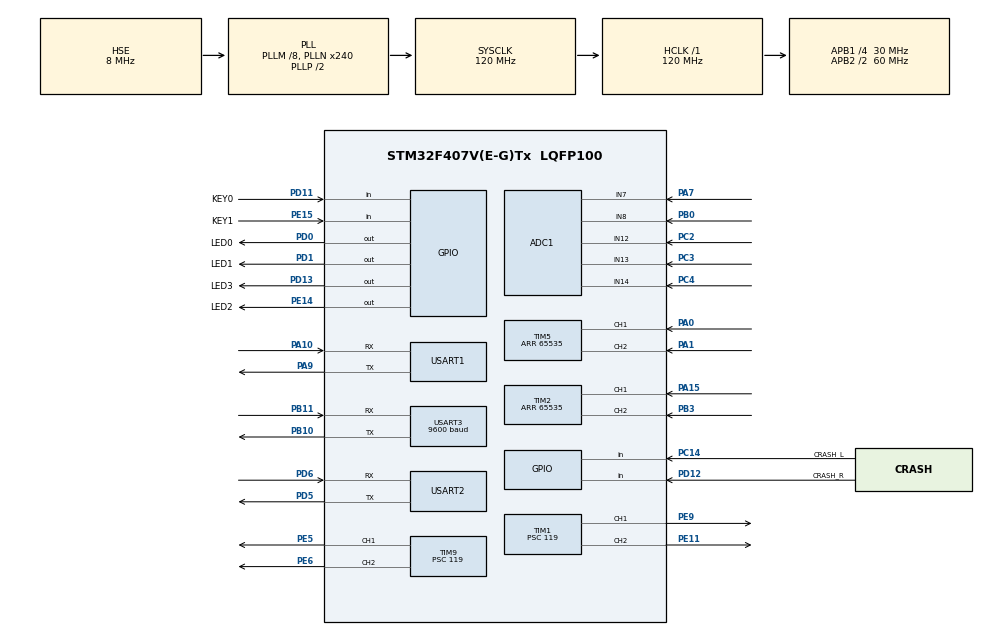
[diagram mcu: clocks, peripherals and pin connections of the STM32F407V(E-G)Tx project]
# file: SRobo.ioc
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ADC1.Channel-0\#ChannelRegularConversion=ADC_CHANNEL_8
ADC1.Channel-1\#ChannelRegularConversion=ADC_CHANNEL_12
ADC1.Channel-2\#ChannelRegularConversion=ADC_CHANNEL_13
ADC1.Channel-3\#ChannelRegularConversion=ADC_CHANNEL_14
ADC1.Channel-4\#ChannelRegularConversion=ADC_CHANNEL_7
ADC1.ContinuousConvMode=ENABLE
ADC1.DMAContinuousRequests=ENABLE
ADC1.ExternalTrigConv=ADC_EXTERNALTRIGCONV_T3_TRGO
ADC1.InjNumberOfConversion=0
ADC1.NbrOfConversion=5
ADC1.NbrOfConversionFlag=1
ADC1.Rank-0\#ChannelRegularConversion=1
ADC1.Rank-1\#ChannelRegularConversion=2
ADC1.Rank-2\#ChannelRegularConversion=3
ADC1.Rank-3\#ChannelRegularConversion=4
ADC1.Rank-4\#ChannelRegularConversion=5
ADC1.SamplingTime-0\#ChannelRegularConversion=ADC_SAMPLETIME_144CYCLES
ADC1.SamplingTime-1\#ChannelRegularConversion=ADC_SAMPLETIME_144CYCLES
ADC1.SamplingTime-2\#ChannelRegularConversion=ADC_SAMPLETIME_144CYCLES
ADC1.SamplingTime-3\#ChannelRegularConversion=ADC_SAMPLETIME_144CYCLES
ADC1.SamplingTime-4\#ChannelRegularConversion=ADC_SAMPLETIME_144CYCLES
ADC1.ScanConvMode=ENABLE
ADC1.master=1
Dma.ADC1.1.Direction=DMA_PERIPH_TO_MEMORY
Dma.ADC1.1.FIFOMode=DMA_FIFOMODE_DISABLE
Dma.ADC1.1.Instance=DMA2_Stream0
Dma.ADC1.1.MemDataAlignment=DMA_MDATAALIGN_HALFWORD
Dma.ADC1.1.MemInc=DMA_MINC_ENABLE
Dma.ADC1.1.Mode=DMA_CIRCULAR
Dma.ADC1.1.PeriphDataAlignment=DMA_PDATAALIGN_HALFWORD
Dma.ADC1.1.PeriphInc=DMA_PINC_DISABLE
Dma.ADC1.1.Priority=DMA_PRIORITY_LOW
Dma.Request0=USART1_TX
Dma.Request1=ADC1
Dma.USART1_TX.0.Direction=DMA_MEMORY_TO_PERIPH
Dma.USART1_TX.0.FIFOMode=DMA_FIFOMODE_DISABLE
Dma.USART1_TX.0.Instance=DMA2_Stream7
Dma.USART1_TX.0.MemDataAlignment=DMA_MDATAALIGN_BYTE
Dma.USART1_TX.0.MemInc=DMA_MINC_ENABLE
Dma.USART1_TX.0.Mode=DMA_NORMAL
Dma.USART1_TX.0.PeriphDataAlignment=DMA_PDATAALIGN_BYTE
Dma.USART1_TX.0.PeriphInc=DMA_PINC_DISABLE
Dma.USART1_TX.0.Priority=DMA_PRIORITY_LOW
Mcu.Family=STM32F4
Mcu.Name=STM32F407V(E-G)Tx
Mcu.Package=LQFP100
NVIC.DMA2_Stream0_IRQn=true\:0\:0\:false\:false\:true\:false\:true\:true
NVIC.DMA2_Stream7_IRQn=true\:0\:0\:false\:false\:true\:false\:true\:true
NVIC.PriorityGroup=NVIC_PRIORITYGROUP_4
NVIC.TIM3_IRQn=true\:0\:0\:false\:false\:true\:true\:true\:true
NVIC.USART1_IRQn=true\:0\:0\:false\:false\:true\:true\:true\:true
NVIC.USART2_IRQn=true\:0\:0\:false\:false\:true\:true\:true\:true
NVIC.USART3_IRQn=true\:0\:0\:false\:false\:true\:true\:true\:true
PA0-WKUP.Signal=S_TIM5_CH1
PA1.Signal=S_TIM5_CH2
PA10.Mode=Asynchronous
PA10.Signal=USART1_RX
PA13.Mode=Serial_Wire
PA13.Signal=SYS_JTMS-SWDIO
PA14.Mode=Serial_Wire
PA14.Signal=SYS_JTCK-SWCLK
PA15.Signal=S_TIM2_CH1_ETR
PA7.Signal=ADCx_IN7
PA9.Mode=Asynchronous
PA9.Signal=USART1_TX
PB0.Signal=ADCx_IN8
PB10.Mode=Asynchronous
PB10.Signal=USART3_TX
PB11.Mode=Asynchronous
PB11.Signal=USART3_RX
PB3.Signal=S_TIM2_CH2
PC14-OSC32_IN.GPIO_Label=CRASH_L
PC14-OSC32_IN.GPIO_PuPd=GPIO_PULLUP
PC14-OSC32_IN.Signal=GPIO_Input
PC2.Signal=ADCx_IN12
PC3.Signal=ADCx_IN13
PC4.Signal=ADCx_IN14
PD0.GPIO_Label=LED0
PD0.GPIO_PuPd=GPIO_NOPULL
PD0.PinState=GPIO_PIN_SET
PD0.Signal=GPIO_Output
PD1.GPIO_Label=LED1
PD1.GPIO_PuPd=GPIO_NOPULL
PD1.PinState=GPIO_PIN_SET
PD1.Signal=GPIO_Output
PD11.GPIO_Label=KEY0
PD11.GPIO_PuPd=GPIO_PULLUP
PD11.Signal=GPIO_Input
PD12.GPIO_Label=CRASH_R
PD12.GPIO_PuPd=GPIO_PULLUP
PD12.Signal=GPIO_Input
PD13.GPIO_Label=LED3
PD13.GPIO_PuPd=GPIO_NOPULL
PD13.PinState=GPIO_PIN_SET
PD13.Signal=GPIO_Output
PD5.Mode=Asynchronous
PD5.Signal=USART2_TX
PD6.Mode=Asynchronous
PD6.Signal=USART2_RX
PE11.Signal=S_TIM1_CH2
PE14.GPIO_Label=LED2
PE14.GPIO_PuPd=GPIO_NOPULL
PE14.PinState=GPIO_PIN_SET
PE14.Signal=GPIO_Output
PE15.GPIO_Label=KEY1
PE15.GPIO_PuPd=GPIO_PULLUP
PE15.Signal=GPIO_Input
PE5.Signal=S_TIM9_CH1
PE6.Signal=S_TIM9_CH2
PE9.Signal=S_TIM1_CH1
PH0-OSC_IN.Mode=HSE-External-Oscillator
PH0-OSC_IN.Signal=RCC_OSC_IN
PH1-OSC_OUT.Mode=HSE-External-Oscillator
PH1-OSC_OUT.Signal=RCC_OSC_OUT
ProjectManager.HeapSize=0x200
ProjectManager.StackSize=0x400
ProjectManager.TargetToolchain=MDK-ARM V5.32
RCC.48MHZClocksFreq_Value=60000000
RCC.AHBFreq_Value=120000000
RCC.APB1CLKDivider=RCC_HCLK_DIV4
RCC.APB1Freq_Value=30000000
RCC.APB1TimFreq_Value=60000000
RCC.APB2CLKDivider=RCC_HCLK_DIV2
RCC.APB2Freq_Value=60000000
RCC.APB2TimFreq_Value=120000000
RCC.CortexFreq_Value=120000000
RCC.HCLKFreq_Value=120000000
RCC.HSE_VALUE=8000000
RCC.HSI_VALUE=16000000
RCC.LSE_VALUE=32768
RCC.PLLM=8
RCC.PLLN=240
RCC.PLLSourceVirtual=RCC_PLLSOURCE_HSE
RCC.SYSCLKFreq_VALUE=120000000
RCC.SYSCLKSource=RCC_SYSCLKSOURCE_PLLCLK
RCC.VCOOutputFreq_Value=240000000
SH.ADCx_IN12.0=ADC1_IN12,IN12
SH.ADCx_IN13.0=ADC1_IN13,IN13
SH.ADCx_IN14.0=ADC1_IN14,IN14
SH.ADCx_IN7.0=ADC1_IN7,IN7
SH.ADCx_IN8.0=ADC1_IN8,IN8
SH.S_TIM1_CH1.0=TIM1_CH1,PWM Generation1 CH1
SH.S_TIM1_CH2.0=TIM1_CH2,PWM Generation2 CH2
SH.S_TIM2_CH1_ETR.0=TIM2_CH1,Encoder_Interface
SH.S_TIM2_CH2.0=TIM2_CH2,Encoder_Interface
SH.S_TIM5_CH1.0=TIM5_CH1,Encoder_Interface
SH.S_TIM5_CH2.0=TIM5_CH2,Encoder_Interface
SH.S_TIM9_CH1.0=TIM9_CH1,PWM Generation1 CH1
SH.S_TIM9_CH2.0=TIM9_CH2,PWM Generation2 CH2
TIM1.Channel-PWM\ Generation1\ CH1=TIM_CHANNEL_1
TIM1.Channel-PWM\ Generation2\ CH2=TIM_CHANNEL_2
TIM1.Period=99
TIM1.Prescaler=119
TIM1.Pulse-PWM\ Generation1\ CH1=50
TIM1.Pulse-PWM\ Generation2\ CH2=50
TIM2.EncoderMode=TIM_ENCODERMODE_TI12
TIM2.Period=65535
TIM3.Period=499
TIM3.Prescaler=11999
TIM3.TIM_MasterOutputTrigger=TIM_TRGO_UPDATE
TIM5.EncoderMode=TIM_ENCODERMODE_TI12
TIM5.Period=65535
TIM9.Channel-PWM\ Generation1\ CH1=TIM_CHANNEL_1
TIM9.Channel-PWM\ Generation2\ CH2=TIM_CHANNEL_2
TIM9.Period=99
TIM9.Prescaler=119
TIM9.Pulse-PWM\ Generation1\ CH1=50
TIM9.Pulse-PWM\ Generation2\ CH2=50
USART1.VirtualMode=VM_ASYNC
USART2.VirtualMode=VM_ASYNC
USART3.BaudRate=9600
USART3.VirtualMode=VM_ASYNC
VP_TIM1_VS_ClockSourceINT.Mode=Internal
VP_TIM3_VS_ClockSourceINT.Mode=Internal
VP_TIM9_VS_ClockSourceINT.Mode=Internal
board=custom

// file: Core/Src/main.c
/* USER CODE BEGIN Header */
/**
  ******************************************************************************
  * @file           : main.c
  * @brief          : Main program body
  ******************************************************************************
  * @attention
  *
  * Copyright (c) 2025 STMicroelectronics.
  * All rights reserved.
  *
  * This software is licensed under terms that can be found in the LICENSE file
  * in the root directory of this software component.
  * If no LICENSE file comes with this software, it is provided AS-IS.
  *
  ******************************************************************************
  */
/* USER CODE END Header */
#include "main.h"

/* USER CODE BEGIN Includes */
#include <stdio.h>
#include <math.h>
#include "led.h"
#include "key.h"
#include "jy901s.h"
#include "cliff_sensor.h"
#include "crash_sensor.h"
#include "A4950.h"
#include "encoder.h"
#include "hc05.h"
#include "PID.h"
/* USER CODE END Includes */

/* USER CODE BEGIN PTD */

//LED0
LED_HandleTypeDef LED0 = {
  .GPIOx = GPIOD,
  .GPIO_Pin = GPIO_PIN_0,
  .ActiveMode = LED_ACTIVE_LOW
};

//LED1
LED_HandleTypeDef LED1 = {
  .GPIOx = GPIOD,
  .GPIO_Pin = GPIO_PIN_1,
  .ActiveMode = LED_ACTIVE_LOW
};

//LED2
LED_HandleTypeDef LED2 = {
  .GPIOx = GPIOE,
  .GPIO_Pin = GPIO_PIN_14,
  .ActiveMode = LED_ACTIVE_LOW
};

//LED3
LED_HandleTypeDef LED3 = {
  .GPIOx = GPIOD,
  .GPIO_Pin = GPIO_PIN_13,
  .ActiveMode = LED_ACTIVE_LOW
};

//KEY
Key_HandleTypeDef key[] = {
    {   // KEY0(PD11)
        .GPIOx = GPIOD,
        .GPIO_Pin = GPIO_PIN_11,
        .ActiveMode = KEY_ACTIVE_LOW
    },
    {   // KEY1(PE15)
        .GPIOx = GPIOE,
        .GPIO_Pin = GPIO_PIN_15,
        .ActiveMode = KEY_ACTIVE_LOW
    }
};

/* USER CODE END PTD */

/* USER CODE BEGIN PD */
#define TX_BUF_SIZE 128
#define M_PI 3.14159265358979323846
/* USER CODE END PD */

ADC_HandleTypeDef hadc1;
DMA_HandleTypeDef hdma_adc1;

TIM_HandleTypeDef htim1;
TIM_HandleTypeDef htim2;
TIM_HandleTypeDef htim3;
TIM_HandleTypeDef htim5;
TIM_HandleTypeDef htim9;

UART_HandleTypeDef huart1;
UART_HandleTypeDef huart2;
UART_HandleTypeDef huart3;
DMA_HandleTypeDef hdma_usart1_tx;

/* USER CODE BEGIN PV */
uint8_t jy_rx_buf[11];
uint8_t uart1_tx_buf[TX_BUF_SIZE];
uint16_t sensor_vals[CLIFF_SENSOR_COUNT];
static uint32_t key0_last_tick = 0;
static uint32_t key1_last_tick = 0;
static int8_t temp_speed_left = 0;
static int8_t temp_speed_right = 0;
int rounds = 0;
IMU_Data_t *imu;
float target_speed_left = 0.0f;
float target_speed_right = 0.0f;
float x = 0.0f;
float y = 0.0f;
float yaw_deg = 0.0f;
float left_speed = 0.0f;
float right_speed = 0.0f;
float memory_deg = 0.0f;
float distance = 0.0f;
float distance_all = 0.0f;
uint8_t cliff_mask = 0;
uint8_t crash_status;
float vol;
int turning_flag = 0;
int move_flag = 0;
int crash_flag = 0;
int cliff_flag = 0;
float turn_start_deg = 0.0f;
float memory_x = 0.0f;
float memory_y = 0.0f;
RobotMode_t robot_mode = ROBOT_OFF;
EmergencyFlag_t emergency_flag = NO_CONTROL;
uint32_t last_protocol_check = 0;
int start_get_mode = 0;
bool flag1 = 0;
bool flag2 = 0;
bool flag3 = 0;
bool flag4 = 0;
//encoder
Encoder_HandleTypeDef encL, encR;
/* USER CODE END PV */

void SystemClock_Config(void);
static void MX_GPIO_Init(void);
static void MX_DMA_Init(void);
static void MX_USART2_UART_Init(void);
static void MX_USART1_UART_Init(void);
static void MX_ADC1_Init(void);
static void MX_TIM3_Init(void);
static void MX_TIM1_Init(void);
static void MX_TIM9_Init(void);
static void MX_TIM2_Init(void);
static void MX_TIM5_Init(void);
static void MX_USART3_UART_Init(void);

/* USER CODE BEGIN 0 */
void LED_Init_All(){
	LED_Init(&LED0);
	LED_Init(&LED1);
	LED_Init(&LED2);
	LED_Init(&LED3);
};

void HC05_OnByteReceived(uint8_t byte)
{
    // 示例：收到的字符原样回发
    HAL_UART_Transmit(&huart3, &byte, 1, HAL_MAX_DELAY);
}

void Motor_SetSpeed(int8_t left, int8_t right) {
    target_speed_left = (float)left;
    target_speed_right = (float)right;
}

void turning_left(float CONTROL_DEG){
	target_speed_left = -5.0f;
	target_speed_right = 5.0f;
	imu = JY901S_GetData();
	if ((imu->yaw > (CONTROL_DEG + turn_start_deg)) || ((imu->yaw > (turn_start_deg + CONTROL_DEG - 360)) && (imu->yaw < (CONTROL_DEG - 180)) && (turn_start_deg > (180 - CONTROL_DEG)))){
		crash_flag = 0;
		cliff_flag = 0;
		target_speed_left = 0;
		target_speed_right = 0;
	}
}

/* USER CODE END 0 */

int main(void)
{

  /* MCU Configuration--------------------------------------------------------*/

  /* Reset of all peripherals, Initializes the Flash interface and the Systick. */
  HAL_Init();

  /* Configure the system clock */
  SystemClock_Config();

  /* Initialize all configured peripherals */
  MX_GPIO_Init();
  MX_DMA_Init();
  MX_USART2_UART_Init();
  MX_USART1_UART_Init();
  MX_ADC1_Init();
  MX_TIM3_Init();
  MX_TIM1_Init();
  MX_TIM9_Init();
  MX_TIM2_Init();
  MX_TIM5_Init();
  MX_USART3_UART_Init();
  /* USER CODE BEGIN 2 */
  LED_Init_All();
  Key_Init(&key[0]);
  Key_Init(&key[1]);
  JY901S_Init(&huart2);
  CliffSensor_Init();
  A4950_Init();
  HC05_Init(&huart3);

  // 绑定并启动编码器接口
  Encoder_Init(&encL, &htim5);
  Encoder_Init(&encR, &htim2);
  // 清零计数
  Encoder_Reset(&encL);
  Encoder_Reset(&encR);

  /* USER CODE END 2 */

  /* Infinite loop */
  /* USER CODE BEGIN WHILE */
  while (1) {

    // 1. 获取传感器数据
    vol = BT15V_GetVoltage();
    crash_status = CrashSensor_GetStatus();
    cliff_mask = CliffSensor_GetMask();
		imu = JY901S_GetData();
		flag1 = CliffSensor_IsCliff(0);
		flag2 = CliffSensor_IsCliff(1);
		flag3 = CliffSensor_IsCliff(2);
		flag4 = CliffSensor_IsCliff(3);

	// 更新按键状态
    Key_Update(&key[0]); // 检测KEY0：按下关机
		Key_Update(&key[1]); // 检测KEY1：按下开机

    // 2. 模式切换
    if (Key_GetState(&key[0]) == KEY_STATE_JUST_PRESSED){
			robot_mode = ROBOT_OFF;
			start_get_mode = 0;
			current_mode = 0;
		}
		if (Key_GetState(&key[1]) == KEY_STATE_JUST_PRESSED)
			start_get_mode = 1;

		if (start_get_mode)
			robot_mode = HC05_GetControlMode();

    // 3. 模式处理
    switch (robot_mode) {
      case REMOTE_CONTROL:
        // 急停处理
        if (hc05_warning_flag == EMERGENCY_STOP) {
          target_speed_left = target_speed_right = 0;
					cliff_flag = 0;
        }
        else if (hc05_warning_flag == NORMAL_SPEED && cliff_flag == 0) {
          target_speed_left = hc05_speed_left;
          target_speed_right = hc05_speed_right;
        }
        hc05_warning_flag = NO_CONTROL;

				// 优先处理碰撞
				if (crash_status == 0) {  //
					if (crash_flag == 1) turning_left(175);
				}
				else {
					imu = JY901S_GetData();
					if (crash_flag == 0) {
						turn_start_deg = imu->yaw;
						target_speed_left = -5;
						target_speed_right = -5;
						crash_flag = 1;
					}
				}

				// 其次处理悬崖
				if (cliff_mask == 0) {
					if (cliff_flag == 1) turning_left(30);
				}
				else {
					imu = JY901S_GetData();
					if (cliff_flag == 0) {
						turn_start_deg = imu->yaw;
						A4950_SetLeft(0);
						A4950_SetRight(0);
						target_speed_left = -5;
						target_speed_right = -5;
						cliff_flag = 1;
					}
				}

        break;

      case AUTO_MAPPING:
        // 建图模式障碍处理
				// （旧）优先处理碰撞
//        if (crash_status == 0){
//					if (crash_flag == 0){
//						target_speed_left = 15.0f;
//						target_speed_right = 3.0f;
//					}
//					else if (crash_flag == 1)
//						turning_left(10);
//				}
//				else{
//					imu = JY901S_GetData();
//					if (crash_flag == 0){
//						turn_start_deg = imu->yaw;
//						target_speed_left = -3;
//						target_speed_right = -3;
//						crash_flag = 1;
//					}
//				}
				// （新）优先处理碰撞
        if (crash_status == 0){
					if (crash_flag == 0){
						target_speed_left = 18.0f;
						target_speed_right = 3.0f;
					}
					else if (crash_flag == 1)
							turning_left(60);
					else if (crash_flag == 2) {
							target_speed_left = -5.0f;
							target_speed_right = 5.0f;
							crash_flag = 0;
					}
					else if (crash_flag == 3)
							turning_left(40);
				}
				else{
					imu = JY901S_GetData();
					if (crash_flag == 0){
						turn_start_deg = imu->yaw;
//						target_speed_left = -3;
//						target_speed_right = -3;
						if (crash_status == 1)
							crash_flag = 1;
	//						turning_left(90);
						else if (crash_status == 2) {
							target_speed_left = -5.0f;
							target_speed_right = 5.0f;
						}
	//						turning_left(20);
						else if (crash_status == 3)
							crash_flag = 3;
	//						turning_left(60);
					}
					else if (crash_flag == 1)
							turning_left(60);
					else if (crash_flag == 2) {
							target_speed_left = -5.0f;
							target_speed_right = 5.0f;
							crash_flag = 0;
					}
					else if (crash_flag == 3)
							turning_left(40);
				}
				// 其次处理悬崖
				if (cliff_mask != 0) {
					target_speed_left = -5;
					target_speed_right = -5;
				}

        break;

      case ROBOT_OFF:
        ResetRobotState(&x, &y, &distance_all, &rounds, crash_flag);
        break;
    }

    // 4. 运动控制
    left_speed = getLeftSpeed(&encL);
    right_speed = getRightSpeed(&encR);
    PID_Control_Left(target_speed_left);
    PID_Control_Right(target_speed_right);

    // 5. 位姿计算（融合IMU+编码器）
    imu = JY901S_GetData();
    if (rounds == 10) memory_deg = imu->yaw;
    yaw_deg = imu->yaw - memory_deg;

    distance = ((left_speed + right_speed) / 2 * 1.25) * ROUND_TIME / 1000.0f; // 通过轮速获取位移
		if (target_speed_left == -target_speed_right)
			distance = 0;
    x += distance * sin(-yaw_deg * M_PI / 180.0f);
    y += distance * cos(-yaw_deg * M_PI / 180.0f);
    distance_all += fabs(distance);

    // 6. 数据上传
    HC05_SendData(x, y, yaw_deg, left_speed, right_speed, vol, distance_all);

    // 7. 协议超时检查（非阻塞）
    if (HAL_GetTick() - last_protocol_check >= 100) {
      HC05_CheckTimeout();
      last_protocol_check = HAL_GetTick();
    }

    HAL_Delay(ROUND_TIME);
    rounds++;
  }
  /* USER CODE END 3 */
}

// 重置机器人状态
void ResetRobotState(float* x, float* y, float* distance_all, uint32_t* rounds, int crash_flag) {
  imu = JY901S_GetData();
  *x = *y = *distance_all = 0;
  *rounds = 0;
  A4950_SetLeft(0);
  A4950_SetRight(0);
  target_speed_left = 0;
  target_speed_right = 0;
	crash_flag = 0;
	cliff_flag = 0;
  memory_deg  = imu->yaw;
  yaw_deg  = imu->yaw - memory_deg;
}

void SystemClock_Config(void)
{
  RCC_OscInitTypeDef RCC_OscInitStruct = {0};
  RCC_ClkInitTypeDef RCC_ClkInitStruct = {0};

  /** Configure the main internal regulator output voltage
  */
  __HAL_RCC_PWR_CLK_ENABLE();
  __HAL_PWR_VOLTAGESCALING_CONFIG(PWR_REGULATOR_VOLTAGE_SCALE1);

  /** Initializes the RCC Oscillators according to the specified parameters
  * in the RCC_OscInitTypeDef structure.
  */
  RCC_OscInitStruct.OscillatorType = RCC_OSCILLATORTYPE_HSE;
  RCC_OscInitStruct.HSEState = RCC_HSE_ON;
  RCC_OscInitStruct.PLL.PLLState = RCC_PLL_ON;
  RCC_OscInitStruct.PLL.PLLSource = RCC_PLLSOURCE_HSE;
  RCC_OscInitStruct.PLL.PLLM = 8;
  RCC_OscInitStruct.PLL.PLLN = 240;
  RCC_OscInitStruct.PLL.PLLP = RCC_PLLP_DIV2;
  RCC_OscInitStruct.PLL.PLLQ = 4;
  if (HAL_RCC_OscConfig(&RCC_OscInitStruct) != HAL_OK)
  {
    Error_Handler();
  }

  /** Initializes the CPU, AHB and APB buses clocks
  */
  RCC_ClkInitStruct.ClockType = RCC_CLOCKTYPE_HCLK|RCC_CLOCKTYPE_SYSCLK
                              |RCC_CLOCKTYPE_PCLK1|RCC_CLOCKTYPE_PCLK2;
  RCC_ClkInitStruct.SYSCLKSource = RCC_SYSCLKSOURCE_PLLCLK;
  RCC_ClkInitStruct.AHBCLKDivider = RCC_SYSCLK_DIV1;
  RCC_ClkInitStruct.APB1CLKDivider = RCC_HCLK_DIV4;
  RCC_ClkInitStruct.APB2CLKDivider = RCC_HCLK_DIV2;

  if (HAL_RCC_ClockConfig(&RCC_ClkInitStruct, FLASH_LATENCY_3) != HAL_OK)
  {
    Error_Handler();
  }
}

static void MX_ADC1_Init(void)
{

  ADC_ChannelConfTypeDef sConfig = {0};

  /** Configure the global features of the ADC (Clock, Resolution, Data Alignment and number of conversion)
  */
  hadc1.Instance = ADC1;
  hadc1.Init.ClockPrescaler = ADC_CLOCK_SYNC_PCLK_DIV2;
  hadc1.Init.Resolution = ADC_RESOLUTION_12B;
  hadc1.Init.ScanConvMode = ENABLE;
  hadc1.Init.ContinuousConvMode = ENABLE;
  hadc1.Init.DiscontinuousConvMode = DISABLE;
  hadc1.Init.ExternalTrigConvEdge = ADC_EXTERNALTRIGCONVEDGE_RISING;
  hadc1.Init.ExternalTrigConv = ADC_EXTERNALTRIGCONV_T3_TRGO;
  hadc1.Init.DataAlign = ADC_DATAALIGN_RIGHT;
  hadc1.Init.NbrOfConversion = 5;
  hadc1.Init.DMAContinuousRequests = ENABLE;
  hadc1.Init.EOCSelection = ADC_EOC_SINGLE_CONV;
  if (HAL_ADC_Init(&hadc1) != HAL_OK)
  {
    Error_Handler();
  }

  /** Configure for the selected ADC regular channel its corresponding rank in the sequencer and its sample time.
  */
  sConfig.Channel = ADC_CHANNEL_8;
  sConfig.Rank = 1;
  sConfig.SamplingTime = ADC_SAMPLETIME_144CYCLES;
  if (HAL_ADC_ConfigChannel(&hadc1, &sConfig) != HAL_OK)
  {
    Error_Handler();
  }

  /** Configure for the selected ADC regular channel its corresponding rank in the sequencer and its sample time.
  */
  sConfig.Channel = ADC_CHANNEL_12;
  sConfig.Rank = 2;
  if (HAL_ADC_ConfigChannel(&hadc1, &sConfig) != HAL_OK)
  {
    Error_Handler();
  }

  /** Configure for the selected ADC regular channel its corresponding rank in the sequencer and its sample time.
  */
  sConfig.Channel = ADC_CHANNEL_13;
  sConfig.Rank = 3;
  if (HAL_ADC_ConfigChannel(&hadc1, &sConfig) != HAL_OK)
  {
    Error_Handler();
  }

  /** Configure for the selected ADC regular channel its corresponding rank in the sequencer and its sample time.
  */
  sConfig.Channel = ADC_CHANNEL_14;
  sConfig.Rank = 4;
  if (HAL_ADC_ConfigChannel(&hadc1, &sConfig) != HAL_OK)
  {
    Error_Handler();
  }

  /** Configure for the selected ADC regular channel its corresponding rank in the sequencer and its sample time.
  */
  sConfig.Channel = ADC_CHANNEL_7;
  sConfig.Rank = 5;
  if (HAL_ADC_ConfigChannel(&hadc1, &sConfig) != HAL_OK)
  {
    Error_Handler();
  }

}

static void MX_TIM1_Init(void)
{

  TIM_ClockConfigTypeDef sClockSourceConfig = {0};
  TIM_MasterConfigTypeDef sMasterConfig = {0};
  TIM_OC_InitTypeDef sConfigOC = {0};
  TIM_BreakDeadTimeConfigTypeDef sBreakDeadTimeConfig = {0};

  htim1.Instance = TIM1;
  htim1.Init.Prescaler = 119;
  htim1.Init.CounterMode = TIM_COUNTERMODE_UP;
  htim1.Init.Period = 99;
  htim1.Init.ClockDivision = TIM_CLOCKDIVISION_DIV1;
  htim1.Init.RepetitionCounter = 0;
  htim1.Init.AutoReloadPreload = TIM_AUTORELOAD_PRELOAD_DISABLE;
  if (HAL_TIM_Base_Init(&htim1) != HAL_OK)
  {
    Error_Handler();
  }
  sClockSourceConfig.ClockSource = TIM_CLOCKSOURCE_INTERNAL;
  if (HAL_TIM_ConfigClockSource(&htim1, &sClockSourceConfig) != HAL_OK)
  {
    Error_Handler();
  }
  if (HAL_TIM_PWM_Init(&htim1) != HAL_OK)
  {
    Error_Handler();
  }
  sMasterConfig.MasterOutputTrigger = TIM_TRGO_RESET;
  sMasterConfig.MasterSlaveMode = TIM_MASTERSLAVEMODE_DISABLE;
  if (HAL_TIMEx_MasterConfigSynchronization(&htim1, &sMasterConfig) != HAL_OK)
  {
    Error_Handler();
  }
  sConfigOC.OCMode = TIM_OCMODE_PWM1;
  sConfigOC.Pulse = 50;
  sConfigOC.OCPolarity = TIM_OCPOLARITY_HIGH;
  sConfigOC.OCNPolarity = TIM_OCNPOLARITY_HIGH;
  sConfigOC.OCFastMode = TIM_OCFAST_DISABLE;
  sConfigOC.OCIdleState = TIM_OCIDLESTATE_RESET;
  sConfigOC.OCNIdleState = TIM_OCNIDLESTATE_RESET;
  if (HAL_TIM_PWM_ConfigChannel(&htim1, &sConfigOC, TIM_CHANNEL_1) != HAL_OK)
  {
    Error_Handler();
  }
  if (HAL_TIM_PWM_ConfigChannel(&htim1, &sConfigOC, TIM_CHANNEL_2) != HAL_OK)
  {
    Error_Handler();
  }
  sBreakDeadTimeConfig.OffStateRunMode = TIM_OSSR_DISABLE;
  sBreakDeadTimeConfig.OffStateIDLEMode = TIM_OSSI_DISABLE;
  sBreakDeadTimeConfig.LockLevel = TIM_LOCKLEVEL_OFF;
  sBreakDeadTimeConfig.DeadTime = 0;
  sBreakDeadTimeConfig.BreakState = TIM_BREAK_DISABLE;
  sBreakDeadTimeConfig.BreakPolarity = TIM_BREAKPOLARITY_HIGH;
  sBreakDeadTimeConfig.AutomaticOutput = TIM_AUTOMATICOUTPUT_DISABLE;
  if (HAL_TIMEx_ConfigBreakDeadTime(&htim1, &sBreakDeadTimeConfig) != HAL_OK)
  {
    Error_Handler();
  }
  HAL_TIM_MspPostInit(&htim1);

}

static void MX_TIM2_Init(void)
{

  TIM_Encoder_InitTypeDef sConfig = {0};
  TIM_MasterConfigTypeDef sMasterConfig = {0};

  htim2.Instance = TIM2;
  htim2.Init.Prescaler = 0;
  htim2.Init.CounterMode = TIM_COUNTERMODE_UP;
  htim2.Init.Period = 65535;
  htim2.Init.ClockDivision = TIM_CLOCKDIVISION_DIV1;
  htim2.Init.AutoReloadPreload = TIM_AUTORELOAD_PRELOAD_DISABLE;
  sConfig.EncoderMode = TIM_ENCODERMODE_TI12;
  sConfig.IC1Polarity = TIM_ICPOLARITY_RISING;
  sConfig.IC1Selection = TIM_ICSELECTION_DIRECTTI;
  sConfig.IC1Prescaler = TIM_ICPSC_DIV1;
  sConfig.IC1Filter = 0;
  sConfig.IC2Polarity = TIM_ICPOLARITY_RISING;
  sConfig.IC2Selection = TIM_ICSELECTION_DIRECTTI;
  sConfig.IC2Prescaler = TIM_ICPSC_DIV1;
  sConfig.IC2Filter = 0;
  if (HAL_TIM_Encoder_Init(&htim2, &sConfig) != HAL_OK)
  {
    Error_Handler();
  }
  sMasterConfig.MasterOutputTrigger = TIM_TRGO_RESET;
  sMasterConfig.MasterSlaveMode = TIM_MASTERSLAVEMODE_DISABLE;
  if (HAL_TIMEx_MasterConfigSynchronization(&htim2, &sMasterConfig) != HAL_OK)
  {
    Error_Handler();
  }

}

static void MX_TIM3_Init(void)
{

  TIM_ClockConfigTypeDef sClockSourceConfig = {0};
  TIM_MasterConfigTypeDef sMasterConfig = {0};

  htim3.Instance = TIM3;
  htim3.Init.Prescaler = 11999;
  htim3.Init.CounterMode = TIM_COUNTERMODE_UP;
  htim3.Init.Period = 499;
  htim3.Init.ClockDivision = TIM_CLOCKDIVISION_DIV1;
  htim3.Init.AutoReloadPreload = TIM_AUTORELOAD_PRELOAD_DISABLE;
  if (HAL_TIM_Base_Init(&htim3) != HAL_OK)
  {
    Error_Handler();
  }
  sClockSourceConfig.ClockSource = TIM_CLOCKSOURCE_INTERNAL;
  if (HAL_TIM_ConfigClockSource(&htim3, &sClockSourceConfig) != HAL_OK)
  {
    Error_Handler();
  }
  sMasterConfig.MasterOutputTrigger = TIM_TRGO_UPDATE;
  sMasterConfig.MasterSlaveMode = TIM_MASTERSLAVEMODE_DISABLE;
  if (HAL_TIMEx_MasterConfigSynchronization(&htim3, &sMasterConfig) != HAL_OK)
  {
    Error_Handler();
  }

}

static void MX_TIM5_Init(void)
{

  TIM_Encoder_InitTypeDef sConfig = {0};
  TIM_MasterConfigTypeDef sMasterConfig = {0};

  htim5.Instance = TIM5;
  htim5.Init.Prescaler = 0;
  htim5.Init.CounterMode = TIM_COUNTERMODE_UP;
  htim5.Init.Period = 65535;
  htim5.Init.ClockDivision = TIM_CLOCKDIVISION_DIV1;
  htim5.Init.AutoReloadPreload = TIM_AUTORELOAD_PRELOAD_DISABLE;
  sConfig.EncoderMode = TIM_ENCODERMODE_TI12;
  sConfig.IC1Polarity = TIM_ICPOLARITY_RISING;
  sConfig.IC1Selection = TIM_ICSELECTION_DIRECTTI;
  sConfig.IC1Prescaler = TIM_ICPSC_DIV1;
  sConfig.IC1Filter = 0;
  sConfig.IC2Polarity = TIM_ICPOLARITY_RISING;
  sConfig.IC2Selection = TIM_ICSELECTION_DIRECTTI;
  sConfig.IC2Prescaler = TIM_ICPSC_DIV1;
  sConfig.IC2Filter = 0;
  if (HAL_TIM_Encoder_Init(&htim5, &sConfig) != HAL_OK)
  {
    Error_Handler();
  }
  sMasterConfig.MasterOutputTrigger = TIM_TRGO_RESET;
  sMasterConfig.MasterSlaveMode = TIM_MASTERSLAVEMODE_DISABLE;
  if (HAL_TIMEx_MasterConfigSynchronization(&htim5, &sMasterConfig) != HAL_OK)
  {
    Error_Handler();
  }

}

static void MX_TIM9_Init(void)
{

  TIM_ClockConfigTypeDef sClockSourceConfig = {0};
  TIM_OC_InitTypeDef sConfigOC = {0};

  htim9.Instance = TIM9;
  htim9.Init.Prescaler = 119;
  htim9.Init.CounterMode = TIM_COUNTERMODE_UP;
  htim9.Init.Period = 99;
  htim9.Init.ClockDivision = TIM_CLOCKDIVISION_DIV1;
  htim9.Init.AutoReloadPreload = TIM_AUTORELOAD_PRELOAD_DISABLE;
  if (HAL_TIM_Base_Init(&htim9) != HAL_OK)
  {
    Error_Handler();
  }
  sClockSourceConfig.ClockSource = TIM_CLOCKSOURCE_INTERNAL;
  if (HAL_TIM_ConfigClockSource(&htim9, &sClockSourceConfig) != HAL_OK)
  {
    Error_Handler();
  }
  if (HAL_TIM_PWM_Init(&htim9) != HAL_OK)
  {
    Error_Handler();
  }
  sConfigOC.OCMode = TIM_OCMODE_PWM1;
  sConfigOC.Pulse = 50;
  sConfigOC.OCPolarity = TIM_OCPOLARITY_HIGH;
  sConfigOC.OCFastMode = TIM_OCFAST_DISABLE;
  if (HAL_TIM_PWM_ConfigChannel(&htim9, &sConfigOC, TIM_CHANNEL_1) != HAL_OK)
  {
    Error_Handler();
  }
  if (HAL_TIM_PWM_ConfigChannel(&htim9, &sConfigOC, TIM_CHANNEL_2) != HAL_OK)
  {
    Error_Handler();
  }
  HAL_TIM_MspPostInit(&htim9);

}

static void MX_USART1_UART_Init(void)
{

  huart1.Instance = USART1;
  huart1.Init.BaudRate = 115200;
  huart1.Init.WordLength = UART_WORDLENGTH_8B;
  huart1.Init.StopBits = UART_STOPBITS_1;
  huart1.Init.Parity = UART_PARITY_NONE;
  huart1.Init.Mode = UART_MODE_TX_RX;
  huart1.Init.HwFlowCtl = UART_HWCONTROL_NONE;
  huart1.Init.OverSampling = UART_OVERSAMPLING_16;
  if (HAL_UART_Init(&huart1) != HAL_OK)
  {
    Error_Handler();
  }

}

static void MX_USART2_UART_Init(void)
{

  huart2.Instance = USART2;
  huart2.Init.BaudRate = 115200;
  huart2.Init.WordLength = UART_WORDLENGTH_8B;
  huart2.Init.StopBits = UART_STOPBITS_1;
  huart2.Init.Parity = UART_PARITY_NONE;
  huart2.Init.Mode = UART_MODE_TX_RX;
  huart2.Init.HwFlowCtl = UART_HWCONTROL_NONE;
  huart2.Init.OverSampling = UART_OVERSAMPLING_16;
  if (HAL_UART_Init(&huart2) != HAL_OK)
  {
    Error_Handler();
  }

}

static void MX_USART3_UART_Init(void)
{

  huart3.Instance = USART3;
  huart3.Init.BaudRate = 9600;
  huart3.Init.WordLength = UART_WORDLENGTH_8B;
  huart3.Init.StopBits = UART_STOPBITS_1;
  huart3.Init.Parity = UART_PARITY_NONE;
  huart3.Init.Mode = UART_MODE_TX_RX;
  huart3.Init.HwFlowCtl = UART_HWCONTROL_NONE;
  huart3.Init.OverSampling = UART_OVERSAMPLING_16;
  if (HAL_UART_Init(&huart3) != HAL_OK)
  {
    Error_Handler();
  }

}

static void MX_DMA_Init(void)
{

  /* DMA controller clock enable */
  __HAL_RCC_DMA2_CLK_ENABLE();

  /* DMA interrupt init */
  /* DMA2_Stream0_IRQn interrupt configuration */
  HAL_NVIC_SetPriority(DMA2_Stream0_IRQn, 0, 0);
  HAL_NVIC_EnableIRQ(DMA2_Stream0_IRQn);
  /* DMA2_Stream7_IRQn interrupt configuration */
  HAL_NVIC_SetPriority(DMA2_Stream7_IRQn, 0, 0);
  HAL_NVIC_EnableIRQ(DMA2_Stream7_IRQn);

}

static void MX_GPIO_Init(void)
{
  GPIO_InitTypeDef GPIO_InitStruct = {0};

  /* GPIO Ports Clock Enable */
  __HAL_RCC_GPIOE_CLK_ENABLE();
  __HAL_RCC_GPIOC_CLK_ENABLE();
  __HAL_RCC_GPIOH_CLK_ENABLE();
  __HAL_RCC_GPIOA_CLK_ENABLE();
  __HAL_RCC_GPIOB_CLK_ENABLE();
  __HAL_RCC_GPIOD_CLK_ENABLE();

  /*Configure GPIO pin Output Level */
  HAL_GPIO_WritePin(LED2_GPIO_Port, LED2_Pin, GPIO_PIN_SET);

  /*Configure GPIO pin Output Level */
  HAL_GPIO_WritePin(GPIOD, LED3_Pin|LED0_Pin|LED1_Pin, GPIO_PIN_SET);

  /*Configure GPIO pin : CRASH_L_Pin */
  GPIO_InitStruct.Pin = CRASH_L_Pin;
  GPIO_InitStruct.Mode = GPIO_MODE_INPUT;
  GPIO_InitStruct.Pull = GPIO_PULLUP;
  HAL_GPIO_Init(CRASH_L_GPIO_Port, &GPIO_InitStruct);

  /*Configure GPIO pin : LED2_Pin */
  GPIO_InitStruct.Pin = LED2_Pin;
  GPIO_InitStruct.Mode = GPIO_MODE_OUTPUT_PP;
  GPIO_InitStruct.Pull = GPIO_NOPULL;
  GPIO_InitStruct.Speed = GPIO_SPEED_FREQ_LOW;
  HAL_GPIO_Init(LED2_GPIO_Port, &GPIO_InitStruct);

  /*Configure GPIO pin : KEY1_Pin */
  GPIO_InitStruct.Pin = KEY1_Pin;
  GPIO_InitStruct.Mode = GPIO_MODE_INPUT;
  GPIO_InitStruct.Pull = GPIO_PULLUP;
  HAL_GPIO_Init(KEY1_GPIO_Port, &GPIO_InitStruct);

  /*Configure GPIO pins : KEY0_Pin CRASH_R_Pin */
  GPIO_InitStruct.Pin = KEY0_Pin|CRASH_R_Pin;
  GPIO_InitStruct.Mode = GPIO_MODE_INPUT;
  GPIO_InitStruct.Pull = GPIO_PULLUP;
  HAL_GPIO_Init(GPIOD, &GPIO_InitStruct);

  /*Configure GPIO pins : LED3_Pin LED0_Pin LED1_Pin */
  GPIO_InitStruct.Pin = LED3_Pin|LED0_Pin|LED1_Pin;
  GPIO_InitStruct.Mode = GPIO_MODE_OUTPUT_PP;
  GPIO_InitStruct.Pull = GPIO_NOPULL;
  GPIO_InitStruct.Speed = GPIO_SPEED_FREQ_LOW;
  HAL_GPIO_Init(GPIOD, &GPIO_InitStruct);

}

/* USER CODE BEGIN 4 */
void HAL_UART_RxCpltCallback(UART_HandleTypeDef *huart)
{
    if (huart->Instance == USART2) {
        JY901S_UART_RxHandler(jy_rx_buf);
        HAL_UART_Receive_IT(&huart2, jy_rx_buf, 11);
    } else if (huart->Instance == USART3) {
        uint8_t byte = *HC05_GetRxBytePtr();
        HC05_UART_RxHandler(byte);
    }
}

/* USER CODE END 4 */

void Error_Handler(void)
{
  __disable_irq();
  while (1)
  {
  }
}
